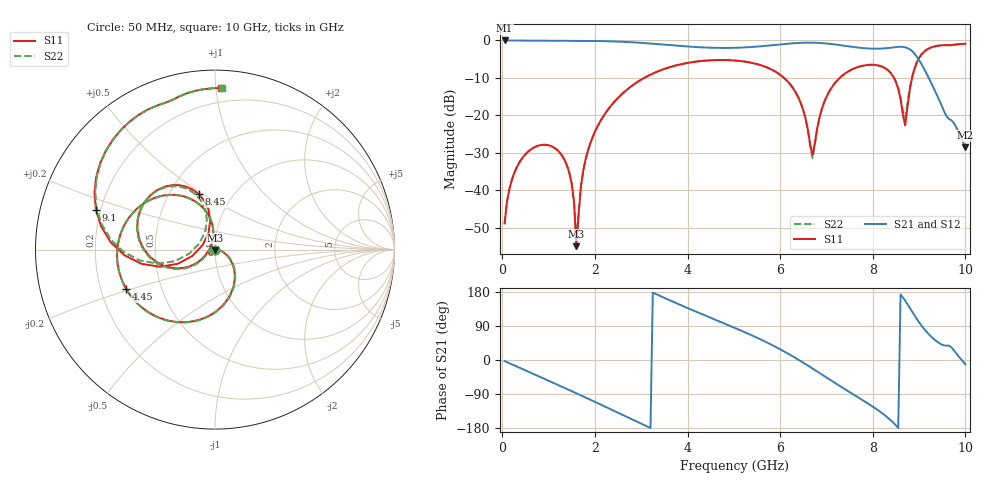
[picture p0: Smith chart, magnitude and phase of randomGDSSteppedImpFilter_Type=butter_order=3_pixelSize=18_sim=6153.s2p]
! freq	dB(S11)	phase(S11)	dB(S12)	phase(S12)
!  dB(S21)	phase(S21)	dB(S22)	phase(S22)
!S-par simulation data
#  GHz  S  DB  R 50
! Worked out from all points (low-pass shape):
!   200 points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, 50 MHz to 10 GHz, reference 50 ohm
!   highest |S21| = 0.00 dB at 50 MHz (marker M1); lowest = -28.5 dB at 10 GHz (marker M2)
!   |S21| within 3 dB of the highest: start of sweep to 8.86 GHz
!   lowest |S11| = -55.0 dB at 1.6 GHz (marker M3), VSWR 1.00, Z = 49.9 - j0.163 ohm
!   |S11| at or under -10 dB: start of sweep to 3.066 GHz; 6.082 GHz to 7.288 GHz (1.206 GHz wide, 18 % of centre); 8.456 GHz to 8.848 GHz (391.4 MHz wide, 4.52 % of centre)
!   |S22| runs from -53.8 to -0.9 dB; largest |S21 - S12| = 0
!   S11 on the Smith chart (normalised r, x): 50 MHz: 1.00, -0.01; 4.45 GHz: 0.31, -0.19; 8.45 GHz: 0.70, +0.48; 9.1 GHz: 0.18, +0.16; 10 GHz: 0.11, +1.03
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0.05  -48.92 -88.9  -0.00 -2.8  -0.00 -2.8  -48.93 -89.0
0.35  -33.01 -108.6  -0.04 -19.2  -0.04 -19.2  -33.01 -108.8
1  -28.01 -144.9  -0.07 -54.7  -0.07 -54.7  -28.02 -145.8
1.45  -35.48 -168.8  -0.09 -79.5  -0.09 -79.5  -35.49 -173.1
1.55  -43.21 -171.7  -0.10 -85.1  -0.10 -85.1  -43.21 176.0
1.6  -54.97 -113.8  -0.10 -87.9  -0.10 -87.9  -53.83 117.8
1.75  -34.67 -8.8  -0.12 -96.3  -0.12 -96.3  -34.64 -3.4
2.3  -18.19 -38.8  -0.22 -127.6  -0.22 -127.6  -18.18 -37.6
3.4  -8.06 -101.3  -1.02 169.4  -1.02 169.4  -8.06 -100.7
4.45  -5.33 -156.1  -1.92 114.0  -1.92 114.0  -5.33 -155.6
5.05  -5.38 173.7  -1.96 83.2  -1.96 83.2  -5.38 174.1
6.25  -12.27 106.1  -0.79 11.3  -0.79 11.3  -12.28 106.2
6.7  -30.71 159.1  -0.60 -22.5  -0.60 -22.5  -31.43 160.2
6.9  -18.32 -143.7  -0.71 -38.3  -0.71 -38.3  -18.35 -142.0
7.2  -11.14 -159.3  -1.09 -61.8  -1.09 -61.8  -11.15 -158.2
8.35  -8.21 115.1  -2.00 -154.9  -2.00 -154.9  -8.18 117.3
8.45  -9.83 106.3  -1.85 -166.3  -1.85 -166.3  -9.77 109.2
8.7  -22.74 158.5  -1.83 156.4  -1.83 156.4  -20.59 157.3
8.85  -9.86 -162.7  -2.87 127.8  -2.87 127.8  -9.68 -166.2
9.1  -3.10 161.5  -7.39 83.2  -7.39 83.2  -3.07 160.2
9.45  -1.34 123.7  -16.38 43.3  -16.38 43.3  -1.33 123.1
10  -0.90 87.7  -28.52 -11.5  -28.52 -11.5  -0.90 87.5
